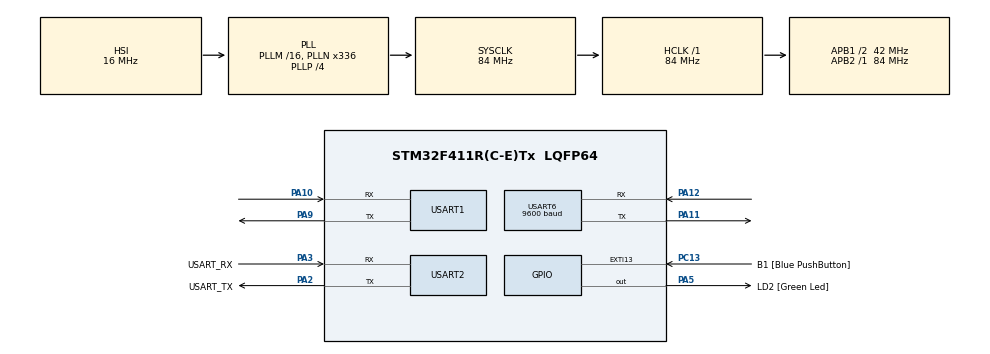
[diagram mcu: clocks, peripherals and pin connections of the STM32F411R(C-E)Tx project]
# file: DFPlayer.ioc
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Mcu.Family=STM32F4
Mcu.Name=STM32F411R(C-E)Tx
Mcu.Package=LQFP64
NVIC.PriorityGroup=NVIC_PRIORITYGROUP_0
PA10.Mode=Asynchronous
PA10.Signal=USART1_RX
PA11.Mode=Asynchronous
PA11.Signal=USART6_TX
PA12.Mode=Asynchronous
PA12.Signal=USART6_RX
PA13.GPIO_Label=TMS
PA13.Mode=Serial_Wire
PA13.Signal=SYS_JTMS-SWDIO
PA14.GPIO_Label=TCK
PA14.Mode=Serial_Wire
PA14.Signal=SYS_JTCK-SWCLK
PA2.GPIO_Label=USART_TX
PA2.Mode=Asynchronous
PA2.Signal=USART2_TX
PA3.GPIO_Label=USART_RX
PA3.Mode=Asynchronous
PA3.Signal=USART2_RX
PA5.GPIO_Label=LD2 [Green Led]
PA5.Signal=GPIO_Output
PA9.Mode=Asynchronous
PA9.Signal=USART1_TX
PB3.GPIO_Label=SWO
PB3.Signal=SYS_JTDO-SWO
PC13-ANTI_TAMP.GPIO_Label=B1 [Blue PushButton]
PC13-ANTI_TAMP.GPIO_ModeDefaultEXTI=GPIO_MODE_IT_FALLING
PC13-ANTI_TAMP.Signal=GPXTI13
PC14-OSC32_IN.Mode=LSE-External-Oscillator
PC14-OSC32_IN.Signal=RCC_OSC32_IN
PC15-OSC32_OUT.Mode=LSE-External-Oscillator
PC15-OSC32_OUT.Signal=RCC_OSC32_OUT
PH0\ -\ OSC_IN.Mode=HSE-External-Clock-Source
PH0\ -\ OSC_IN.Signal=RCC_OSC_IN
PH1\ -\ OSC_OUT.Mode=HSE-External-Clock-Source
PH1\ -\ OSC_OUT.Signal=RCC_OSC_OUT
ProjectManager.HeapSize=0x200
ProjectManager.StackSize=0x400
ProjectManager.TargetToolchain=STM32CubeIDE
RCC.48MHZClocksFreq_Value=84000000
RCC.AHBFreq_Value=84000000
RCC.APB1CLKDivider=RCC_HCLK_DIV2
RCC.APB1Freq_Value=42000000
RCC.APB1TimFreq_Value=84000000
RCC.APB2Freq_Value=84000000
RCC.APB2TimFreq_Value=84000000
RCC.CortexFreq_Value=84000000
RCC.FLatency-AdvancedSettings=FLASH_LATENCY_2
RCC.HCLKFreq_Value=84000000
RCC.HSE_VALUE=8000000
RCC.HSI_VALUE=16000000
RCC.PLLN=336
RCC.PLLP=RCC_PLLP_DIV4
RCC.SYSCLKFreq_VALUE=84000000
RCC.SYSCLKSource=RCC_SYSCLKSOURCE_PLLCLK
RCC.VCOOutputFreq_Value=336000000
USART1.VirtualMode=VM_ASYNC
USART2.VirtualMode=VM_ASYNC
USART6.BaudRate=9600
USART6.VirtualMode=VM_ASYNC
board=NUCLEO-F411RE

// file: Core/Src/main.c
/* USER CODE BEGIN Header */
/**
  ******************************************************************************
  * @file           : main.c
  * @brief          : Main program body
  ******************************************************************************
  * @attention
  *
  * Copyright (c) 2025 STMicroelectronics.
  * All rights reserved.
  *
  * This software is licensed under terms that can be found in the LICENSE file
  * in the root directory of this software component.
  * If no LICENSE file comes with this software, it is provided AS-IS.
  *
  ******************************************************************************
  */
/* USER CODE END Header */
#include "main.h"

UART_HandleTypeDef huart1;
UART_HandleTypeDef huart2;
UART_HandleTypeDef huart6;

void SystemClock_Config(void);
static void MX_GPIO_Init(void);
static void MX_USART2_UART_Init(void);
static void MX_USART6_UART_Init(void);
static void MX_USART1_UART_Init(void);

/* USER CODE BEGIN 0 */
void DFPlayer_Send_Cmd(uint8_t cmd, uint16_t param) {
    uint8_t buffer[10];
    uint16_t checksum;

    buffer[0] = 0x7E;   // Start byte
    buffer[1] = 0xFF;   // Version
    buffer[2] = 0x06;   // Length
    buffer[3] = cmd;    // Command
    buffer[4] = 0x00;   // Feedback (0: No feedback, 1: Feedback)
    buffer[5] = (uint8_t)(param >> 8);  // Parameter (High byte)
    buffer[6] = (uint8_t)(param & 0xFF); // Parameter (Low byte)

    // Checksum
    checksum = 0;
    for (int i = 1; i < 7; i++) {
        checksum += buffer[i];
    }
    checksum = 0 - checksum;
    buffer[7] = (uint8_t)(checksum >> 8);   // Checksum (High byte)
    buffer[8] = (uint8_t)(checksum & 0xFF);  // Checksum (Low byte)
    buffer[9] = 0xEF;   // End byte

    HAL_UART_Transmit(&huart6, buffer, 10, 100); // UART
    HAL_Delay(20); //DFPlayer
}

//
void DFPlayer_Play_Track(uint16_t track_number) {
     DFPlayer_Send_Cmd(DFPLAYER_SELECT_TRACK, track_number);
}

// (0 ~ 30)
void DFPlayer_Set_Volume(uint8_t volume) {
    DFPlayer_Send_Cmd(DFPLAYER_VOLUME, volume);
}

/* USER CODE END 0 */

int main(void)
{

  /* MCU Configuration--------------------------------------------------------*/

  /* Reset of all peripherals, Initializes the Flash interface and the Systick. */
  HAL_Init();

  /* Configure the system clock */
  SystemClock_Config();

  /* Initialize all configured peripherals */
  MX_GPIO_Init();
  MX_USART2_UART_Init();
  MX_USART6_UART_Init();
  MX_USART1_UART_Init();
  /* USER CODE BEGIN 2 */
	HAL_Delay(200);
	DFPlayer_Send_Cmd(DFPLAYER_RESET, 0);
	HAL_Delay(1000);
	DFPlayer_Set_Volume(20); // (0~30)
	DFPlayer_Play_Track(1);
	HAL_Delay(400);
	DFPlayer_Send_Cmd(0x19, 0);// repeat
//	DFPlayer_Send_Cmd(0x11, 1);
//	DFPlayer_Send_Cmd(DFPLAYER_PLAY,0);
//	DFPlayer_Send_Cmd(DFPLAYER_NEXT,0);
////	HAL_Delay(5000);
//
//	DFPlayer_Send_Cmd(DFPLAYER_PREV,0);
////	HAL_Delay(5000);
//
//	DFPlayer_Send_Cmd(DFPLAYER_PAUSE,0);
////	HAL_Delay(2000);
//
//	DFPlayer_Send_Cmd(DFPLAYER_PLAY,0);
  /* USER CODE END 2 */

  /* Infinite loop */
  while (1)
  {

  }
}

void SystemClock_Config(void)
{
  RCC_OscInitTypeDef RCC_OscInitStruct = {0};
  RCC_ClkInitTypeDef RCC_ClkInitStruct = {0};

  /** Configure the main internal regulator output voltage
  */
  __HAL_RCC_PWR_CLK_ENABLE();
  __HAL_PWR_VOLTAGESCALING_CONFIG(PWR_REGULATOR_VOLTAGE_SCALE1);

  /** Initializes the RCC Oscillators according to the specified parameters
  * in the RCC_OscInitTypeDef structure.
  */
  RCC_OscInitStruct.OscillatorType = RCC_OSCILLATORTYPE_HSI;
  RCC_OscInitStruct.HSIState = RCC_HSI_ON;
  RCC_OscInitStruct.HSICalibrationValue = RCC_HSICALIBRATION_DEFAULT;
  RCC_OscInitStruct.PLL.PLLState = RCC_PLL_ON;
  RCC_OscInitStruct.PLL.PLLSource = RCC_PLLSOURCE_HSI;
  RCC_OscInitStruct.PLL.PLLM = 16;
  RCC_OscInitStruct.PLL.PLLN = 336;
  RCC_OscInitStruct.PLL.PLLP = RCC_PLLP_DIV4;
  RCC_OscInitStruct.PLL.PLLQ = 4;
  if (HAL_RCC_OscConfig(&RCC_OscInitStruct) != HAL_OK)
  {
    Error_Handler();
  }

  /** Initializes the CPU, AHB and APB buses clocks
  */
  RCC_ClkInitStruct.ClockType = RCC_CLOCKTYPE_HCLK|RCC_CLOCKTYPE_SYSCLK
                              |RCC_CLOCKTYPE_PCLK1|RCC_CLOCKTYPE_PCLK2;
  RCC_ClkInitStruct.SYSCLKSource = RCC_SYSCLKSOURCE_PLLCLK;
  RCC_ClkInitStruct.AHBCLKDivider = RCC_SYSCLK_DIV1;
  RCC_ClkInitStruct.APB1CLKDivider = RCC_HCLK_DIV2;
  RCC_ClkInitStruct.APB2CLKDivider = RCC_HCLK_DIV1;

  if (HAL_RCC_ClockConfig(&RCC_ClkInitStruct, FLASH_LATENCY_2) != HAL_OK)
  {
    Error_Handler();
  }
}

static void MX_USART1_UART_Init(void)
{

  huart1.Instance = USART1;
  huart1.Init.BaudRate = 115200;
  huart1.Init.WordLength = UART_WORDLENGTH_8B;
  huart1.Init.StopBits = UART_STOPBITS_1;
  huart1.Init.Parity = UART_PARITY_NONE;
  huart1.Init.Mode = UART_MODE_TX_RX;
  huart1.Init.HwFlowCtl = UART_HWCONTROL_NONE;
  huart1.Init.OverSampling = UART_OVERSAMPLING_16;
  if (HAL_UART_Init(&huart1) != HAL_OK)
  {
    Error_Handler();
  }

}

static void MX_USART2_UART_Init(void)
{

  huart2.Instance = USART2;
  huart2.Init.BaudRate = 115200;
  huart2.Init.WordLength = UART_WORDLENGTH_8B;
  huart2.Init.StopBits = UART_STOPBITS_1;
  huart2.Init.Parity = UART_PARITY_NONE;
  huart2.Init.Mode = UART_MODE_TX_RX;
  huart2.Init.HwFlowCtl = UART_HWCONTROL_NONE;
  huart2.Init.OverSampling = UART_OVERSAMPLING_16;
  if (HAL_UART_Init(&huart2) != HAL_OK)
  {
    Error_Handler();
  }

}

static void MX_USART6_UART_Init(void)
{

  huart6.Instance = USART6;
  huart6.Init.BaudRate = 9600;
  huart6.Init.WordLength = UART_WORDLENGTH_8B;
  huart6.Init.StopBits = UART_STOPBITS_1;
  huart6.Init.Parity = UART_PARITY_NONE;
  huart6.Init.Mode = UART_MODE_TX_RX;
  huart6.Init.HwFlowCtl = UART_HWCONTROL_NONE;
  huart6.Init.OverSampling = UART_OVERSAMPLING_16;
  if (HAL_UART_Init(&huart6) != HAL_OK)
  {
    Error_Handler();
  }

}

static void MX_GPIO_Init(void)
{
  GPIO_InitTypeDef GPIO_InitStruct = {0};

  /* GPIO Ports Clock Enable */
  __HAL_RCC_GPIOC_CLK_ENABLE();
  __HAL_RCC_GPIOH_CLK_ENABLE();
  __HAL_RCC_GPIOA_CLK_ENABLE();
  __HAL_RCC_GPIOB_CLK_ENABLE();

  /*Configure GPIO pin Output Level */
  HAL_GPIO_WritePin(LD2_GPIO_Port, LD2_Pin, GPIO_PIN_RESET);

  /*Configure GPIO pin : B1_Pin */
  GPIO_InitStruct.Pin = B1_Pin;
  GPIO_InitStruct.Mode = GPIO_MODE_IT_FALLING;
  GPIO_InitStruct.Pull = GPIO_NOPULL;
  HAL_GPIO_Init(B1_GPIO_Port, &GPIO_InitStruct);

  /*Configure GPIO pin : LD2_Pin */
  GPIO_InitStruct.Pin = LD2_Pin;
  GPIO_InitStruct.Mode = GPIO_MODE_OUTPUT_PP;
  GPIO_InitStruct.Pull = GPIO_NOPULL;
  GPIO_InitStruct.Speed = GPIO_SPEED_FREQ_LOW;
  HAL_GPIO_Init(LD2_GPIO_Port, &GPIO_InitStruct);

}

void Error_Handler(void)
{
  __disable_irq();
  while (1)
  {
  }
}
